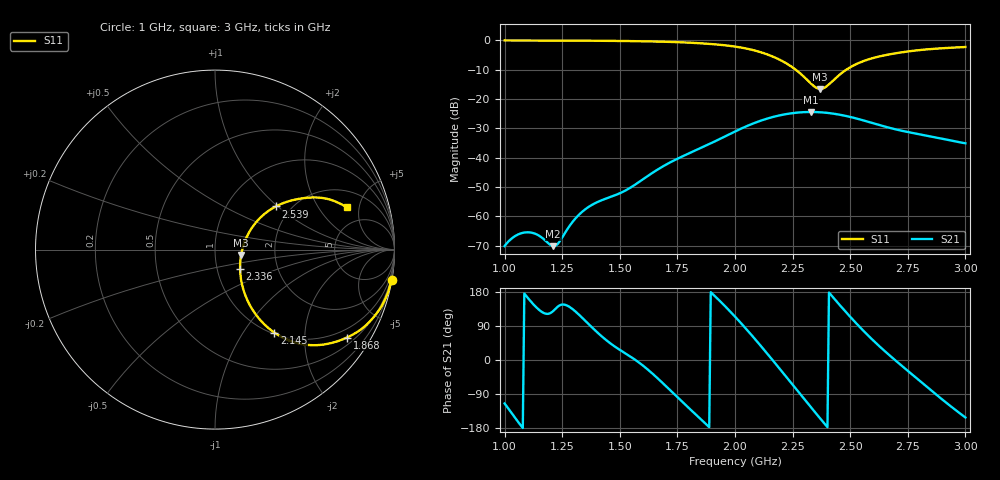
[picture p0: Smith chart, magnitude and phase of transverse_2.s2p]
! TOUCHSTONE file generated by CST MICROWAVE STUDIO
! Date and time: Tue Mar 11 13:55:44 2025
! Project name: transverse.cst
! Parameters = {Fracture=5; B=10; D=160; F=5; Feed=2.85625; L=100; M=10; R=0.384908; S=1; Theta=0; length=57.125; wave=114.25}
! Header version: 2024
! Port assignment regex: !\s*Touchstone port\s*([0-9]+)\s*=\s*(CST MWS port|CST DES external port|CST DES block port)\s*(.+)\s* \(\"(.*)\"\)(\s*mode\s*([0-9]+))?.*
! Touchstone port assignment:
! Touchstone port 1 = CST MWS port 1 ("")
! Touchstone port 2 = CST MWS port 2 ("")
# GHz S MA R 50
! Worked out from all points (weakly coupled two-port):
!   305 points, 1 GHz to 3 GHz, reference 50 ohm
!   highest |S21| = -24.41 dB at 2.329 GHz (marker M1); lowest = -70.2 dB at 1.211 GHz (marker M2)
!   lowest |S11| = -16.6 dB at 2.368 GHz (marker M3), VSWR 1.35, Z = 66.8 - j4.17 ohm
!   |S11| at or under -10 dB: 2.264 GHz to 2.483 GHz (219.6 MHz wide, 9.25 % of centre)
!   S12 and S22 are empty: the file has one direction only
!   S11 on the Smith chart (normalised r, x): 1 GHz: 0, -12; 1.868 GHz: 0.71, -3.16; 2.145 GHz: 1.02, -1.40; 2.336 GHz: 1.29, -0.28; 2.539 GHz: 1.67, +0.97; 3 GHz: 3.21, +3.75
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1  0.9979 -9.7  0.0003113 -114.7  0 0.0  0 0.0
1.04605  0.9972 -10.4  0.0004631 -153.1  0 0.0  0 0.0
1.09868  0.9962 -11.1  0.000535 165.4  0 0.0  0 0.0
1.14474  0.9955 -11.8  0.0004801 134.9  0 0.0  0 0.0
1.21053  0.9946 -12.9  0.0003101 129.0  0 0.0  0 0.0
1.23026  0.9942 -13.2  0.0003379 140.6  0 0.0  0 0.0
1.28947  0.9922 -14.3  0.0007542 136.9  0 0.0  0 0.0
1.33553  0.99 -15.2  0.001186 112.1  0 0.0  0 0.0
1.39474  0.9869 -16.5  0.001692 77.2  0 0.0  0 0.0
1.53289  0.9755 -20.0  0.002876 14.1  0 0.0  0 0.0
1.67105  0.9537 -24.4  0.006525 -52.2  0 0.0  0 0.0
1.86842  0.8836 -33.7  0.01568 -165.8  0 0.0  0 0.0
2  0.7852 -42.6  0.02802 114.5  0 0.0  0 0.0
2.14474  0.5679 -54.5  0.04705 13.3  0 0.0  0 0.0
2.24342  0.3608 -57.9  0.05709 -60.2  0 0.0  0 0.0
2.32895  0.185 -40.7  0.0602 -124.2  0 0.0  0 0.0
2.33553  0.1751 -37.1  0.06019 -129.1  0 0.0  0 0.0
2.36842  0.1485 -11.9  0.05956 -153.3  0 0.0  0 0.0
2.46053  0.2725 33.5  0.05354 140.8  0 0.0  0 0.0
2.53947  0.4159 35.4  0.04524 88.3  0 0.0  0 0.0
2.67105  0.5792 29.8  0.03229 12.2  0 0.0  0 0.0
3  0.7717 17.8  0.0176 -151.7  0 0.0  0 0.0
